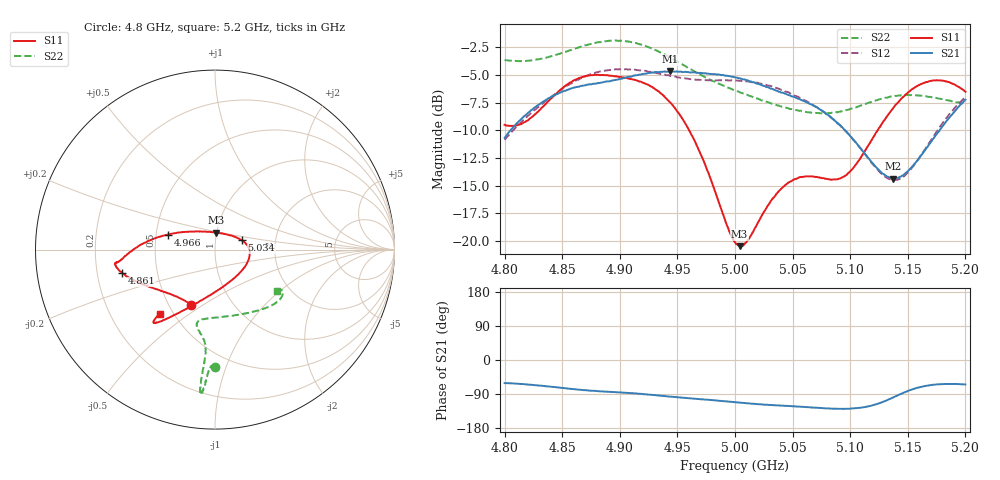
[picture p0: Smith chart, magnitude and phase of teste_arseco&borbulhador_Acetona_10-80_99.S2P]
! Network Analyzer HP8722D
! Hewlett-Packard
! Data name: Linha & Wilkinson
! Saver's name: Rodrigo Anjos
! Comments: Teste da utilização de aquisição
! continua pelo VNA HP8722D
! Time and date: 17/4/2025 15:11
!  Frequency  S11  S21  S12  S22
# HZ  S  MA R 50
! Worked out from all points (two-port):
!   401 points, 4.8 GHz to 5.2 GHz, reference 50 ohm
!   highest |S21| = -4.68 dB at 4.944 GHz (marker M1); lowest = -14.4 dB at 5.137 GHz (marker M2)
!   |S21| within 3 dB of the highest: 4.83 GHz to 5.066 GHz (236.7 MHz wide, 4.78 % of centre); 5.195823 GHz to end of sweep
!   lowest |S11| = -20.5 dB at 5.004 GHz (marker M3), VSWR 1.21, Z = 49.9 + j9.5 ohm
!   |S11| at or under -10 dB: 4.96 GHz to 5.124 GHz (163.8 MHz wide, 3.25 % of centre)
!   |S22| runs from -8.5 to -1.9 dB; largest |S21 - S12| = 0.88
!   S11 on the Smith chart (normalised r, x): 4.8 GHz: 0.64, -0.44; 4.861 GHz: 0.31, -0.11; 4.966 GHz: 0.58, +0.10; 5.034 GHz: 1.34, +0.14; 5.2 GHz: 0.42, -0.39
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4.8e9  0.3344 -113.8  0.2923 -61.0  0.2861 -175.3  0.6559 -90.2
4.819e9  0.3482 -133.8  0.3733 -64.5  0.3618 -173.9  0.6504 -91.8
4.861e9  0.5336 -165.7  0.4932 -77.2  0.5274 -177.1  0.7387 -94.2
4.867e9  0.5489 -168.2  0.5022 -79.1  0.5454 -178.2  0.7574 -94.3
4.903e9  0.5481 -172.6  0.5434 -86.0  0.5973 174.6  0.7991 -95.7
4.934e9  0.4726 -178.5  0.5788 -93.8  0.571 171.6  0.715 -96.0
4.944e9  0.4215 176.9  0.5833 -96.5  0.5553 171.6  0.6721 -95.8
4.966e9  0.2757 162.3  0.5753 -102.3  0.5345 173.5  0.5781 -95.1
5e9  0.0988 99.5  0.5489 -111.4  0.531 176.0  0.4786 -99.4
5.004e9  0.09472 85.5  0.5434 -112.5  0.5283 175.9  0.47 -100.2
5.012e9  0.102 59.0  0.5268 -114.6  0.5243 175.6  0.4535 -102.0
5.034e9  0.1578 19.1  0.4815 -119.4  0.4955 174.5  0.414 -103.5
5.049e9  0.1863 4.0  0.4495 -121.9  0.4609 173.9  0.3944 -99.7
5.067e9  0.1955 -15.2  0.4121 -125.2  0.4137 173.4  0.3788 -90.3
5.086e9  0.1898 -45.4  0.3526 -128.4  0.3509 173.5  0.3802 -76.1
5.097e9  0.1991 -67.8  0.3099 -128.8  0.3101 174.5  0.39 -67.0
5.134e9  0.3779 -117.1  0.1937 -103.4  0.1902 -156.3  0.4472 -43.0
5.137e9  0.396 -118.9  0.1912 -99.1  0.1886 -151.4  0.4504 -41.7
5.15e9  0.4668 -124.7  0.2064 -82.0  0.2036 -131.7  0.4558 -36.8
5.17e9  0.5279 -129.3  0.2791 -66.2  0.2844 -112.3  0.4469 -32.1
5.184e9  0.5241 -130.6  0.3503 -63.2  0.3615 -107.5  0.4325 -31.2
5.2e9  0.4718 -130.9  0.4342 -64.7  0.4461 -106.8  0.4153 -33.5
